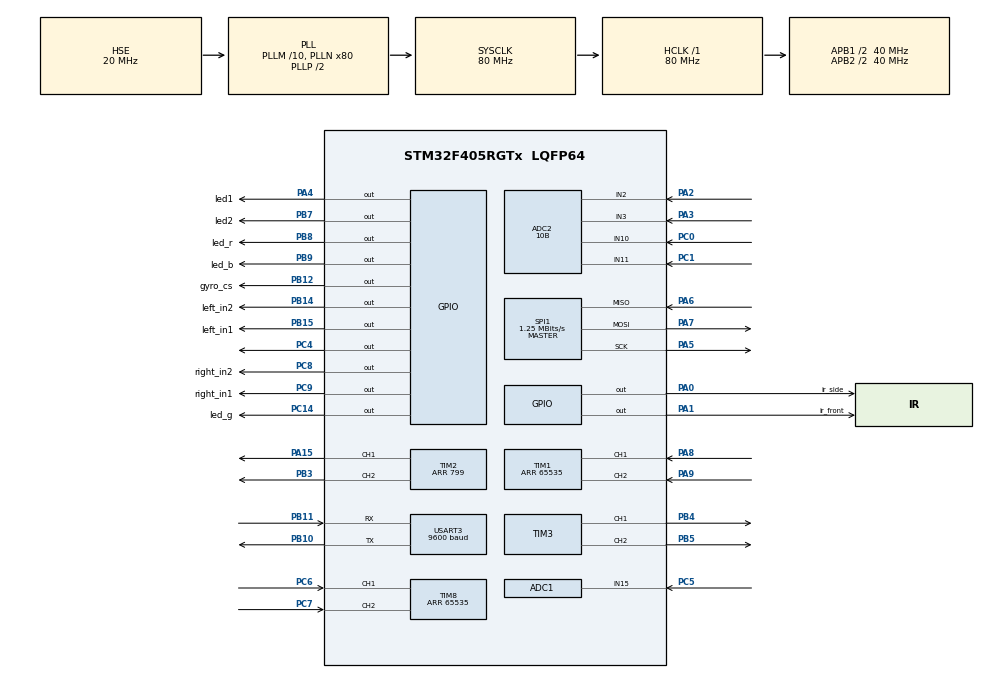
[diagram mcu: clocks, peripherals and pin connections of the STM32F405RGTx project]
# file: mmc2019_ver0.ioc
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ADC1.Channel-5\#ChannelRegularConversion=ADC_CHANNEL_15
ADC1.ContinuousConvMode=DISABLE
ADC1.DMAContinuousRequests=DISABLE
ADC1.DataAlign=ADC_DATAALIGN_RIGHT
ADC1.DiscontinuousConvMode=DISABLE
ADC1.EOCSelection=ADC_EOC_SINGLE_CONV
ADC1.EnableAnalogWatchDog=false
ADC1.ExternalTrigConv=ADC_SOFTWARE_START
ADC1.ExternalTrigConvEdge=ADC_EXTERNALTRIGCONVEDGE_NONE
ADC1.InjNumberOfConversion=0
ADC1.NbrOfConversion=1
ADC1.NbrOfConversionFlag=1
ADC1.Rank-5\#ChannelRegularConversion=1
ADC1.Resolution=ADC_RESOLUTION_12B
ADC1.SamplingTime-5\#ChannelRegularConversion=ADC_SAMPLETIME_3CYCLES
ADC1.ScanConvMode=DISABLE
ADC1.master=1
ADC2.Channel-0\#ChannelRegularConversion=ADC_CHANNEL_2
ADC2.Channel-1\#ChannelRegularConversion=ADC_CHANNEL_3
ADC2.Channel-2\#ChannelRegularConversion=ADC_CHANNEL_10
ADC2.Channel-3\#ChannelRegularConversion=ADC_CHANNEL_11
ADC2.ClockPrescaler=ADC_CLOCK_SYNC_PCLK_DIV2
ADC2.ContinuousConvMode=ENABLE
ADC2.DMAContinuousRequests=ENABLE
ADC2.DataAlign=ADC_DATAALIGN_RIGHT
ADC2.DiscontinuousConvMode=DISABLE
ADC2.EOCSelection=ADC_EOC_SINGLE_CONV
ADC2.EnableAnalogWatchDog=false
ADC2.ExternalTrigConv=ADC_SOFTWARE_START
ADC2.ExternalTrigConvEdge=ADC_EXTERNALTRIGCONVEDGE_NONE
ADC2.InjNumberOfConversion=0
ADC2.NbrOfConversion=4
ADC2.NbrOfConversionFlag=1
ADC2.Rank-0\#ChannelRegularConversion=1
ADC2.Rank-1\#ChannelRegularConversion=2
ADC2.Rank-2\#ChannelRegularConversion=3
ADC2.Rank-3\#ChannelRegularConversion=4
ADC2.Resolution=ADC_RESOLUTION_10B
ADC2.SamplingTime-0\#ChannelRegularConversion=ADC_SAMPLETIME_3CYCLES
ADC2.SamplingTime-1\#ChannelRegularConversion=ADC_SAMPLETIME_3CYCLES
ADC2.SamplingTime-2\#ChannelRegularConversion=ADC_SAMPLETIME_3CYCLES
ADC2.SamplingTime-3\#ChannelRegularConversion=ADC_SAMPLETIME_3CYCLES
ADC2.ScanConvMode=ENABLE
Dma.ADC2.0.Direction=DMA_PERIPH_TO_MEMORY
Dma.ADC2.0.FIFOMode=DMA_FIFOMODE_DISABLE
Dma.ADC2.0.Instance=DMA2_Stream2
Dma.ADC2.0.MemDataAlignment=DMA_MDATAALIGN_HALFWORD
Dma.ADC2.0.MemInc=DMA_MINC_ENABLE
Dma.ADC2.0.Mode=DMA_NORMAL
Dma.ADC2.0.PeriphDataAlignment=DMA_PDATAALIGN_HALFWORD
Dma.ADC2.0.PeriphInc=DMA_PINC_DISABLE
Dma.ADC2.0.Priority=DMA_PRIORITY_LOW
Dma.Request0=ADC2
Mcu.Family=STM32F4
Mcu.Name=STM32F405RGTx
Mcu.Package=LQFP64
NVIC.DMA2_Stream2_IRQn=true\:0\:0\:false\:false\:true\:false
NVIC.PriorityGroup=NVIC_PRIORITYGROUP_4
PA0-WKUP.GPIO_Label=ir_side
PA0-WKUP.Signal=GPIO_Output
PA1.GPIO_Label=ir_front
PA1.Signal=GPIO_Output
PA15.Signal=S_TIM2_CH1_ETR
PA2.Signal=ADCx_IN2
PA3.Signal=ADCx_IN3
PA4.GPIO_Label=led1
PA4.Signal=GPIO_Output
PA5.Mode=Full_Duplex_Master
PA5.Signal=SPI1_SCK
PA6.Mode=Full_Duplex_Master
PA6.Signal=SPI1_MISO
PA7.Mode=Full_Duplex_Master
PA7.Signal=SPI1_MOSI
PA8.Signal=S_TIM1_CH1
PA9.Signal=S_TIM1_CH2
PB10.Mode=Asynchronous
PB10.Signal=USART3_TX
PB11.Mode=Asynchronous
PB11.Signal=USART3_RX
PB12.GPIO_Label=gyro_cs
PB12.Signal=GPIO_Output
PB14.GPIO_Label=left_in2
PB14.Signal=GPIO_Output
PB15.GPIO_Label=left_in1
PB15.Signal=GPIO_Output
PB3.Signal=S_TIM2_CH2
PB4.Signal=S_TIM3_CH1
PB5.Signal=S_TIM3_CH2
PB7.GPIO_Label=led2
PB7.Signal=GPIO_Output
PB8.GPIO_Label=led_r
PB8.Signal=GPIO_Output
PB9.GPIO_Label=led_b
PB9.Signal=GPIO_Output
PC0.Signal=ADCx_IN10
PC1.Signal=ADCx_IN11
PC14-OSC32_IN.GPIO_Label=led_g
PC14-OSC32_IN.Signal=GPIO_Output
PC4.Signal=GPIO_Output
PC5.Signal=ADCx_IN15
PC6.Signal=S_TIM8_CH1
PC7.Signal=S_TIM8_CH2
PC8.GPIO_Label=right_in2
PC8.Signal=GPIO_Output
PC9.GPIO_Label=right_in1
PC9.Signal=GPIO_Output
PH0-OSC_IN.Mode=HSE-External-Oscillator
PH0-OSC_IN.Signal=RCC_OSC_IN
PH1-OSC_OUT.Mode=HSE-External-Oscillator
PH1-OSC_OUT.Signal=RCC_OSC_OUT
ProjectManager.HeapSize=0x200
ProjectManager.StackSize=0x400
ProjectManager.TargetToolchain=Makefile
RCC.48MHZClocksFreq_Value=40000000
RCC.AHBFreq_Value=80000000
RCC.APB1CLKDivider=RCC_HCLK_DIV2
RCC.APB1Freq_Value=40000000
RCC.APB1TimFreq_Value=80000000
RCC.APB2CLKDivider=RCC_HCLK_DIV2
RCC.APB2Freq_Value=40000000
RCC.APB2TimFreq_Value=80000000
RCC.CortexFreq_Value=80000000
RCC.HCLKFreq_Value=80000000
RCC.HSE_VALUE=20000000
RCC.HSI_VALUE=16000000
RCC.LSE_VALUE=32768
RCC.PLLM=10
RCC.PLLN=80
RCC.PLLSourceVirtual=RCC_PLLSOURCE_HSE
RCC.SYSCLKFreq_VALUE=80000000
RCC.SYSCLKSource=RCC_SYSCLKSOURCE_PLLCLK
RCC.VCOOutputFreq_Value=160000000
SH.ADCx_IN10.0=ADC2_IN10,IN10
SH.ADCx_IN11.0=ADC2_IN11,IN11
SH.ADCx_IN15.0=ADC1_IN15,IN15
SH.ADCx_IN2.0=ADC2_IN2,IN2
SH.ADCx_IN3.0=ADC2_IN3,IN3
SH.S_TIM1_CH1.0=TIM1_CH1,Encoder_Interface
SH.S_TIM1_CH2.0=TIM1_CH2,Encoder_Interface
SH.S_TIM2_CH1_ETR.0=TIM2_CH1,PWM Generation1 CH1
SH.S_TIM2_CH2.0=TIM2_CH2,PWM Generation2 CH2
SH.S_TIM3_CH1.0=TIM3_CH1,PWM Generation1 CH1
SH.S_TIM3_CH2.0=TIM3_CH2,PWM Generation2 CH2
SH.S_TIM8_CH1.0=TIM8_CH1,Encoder_Interface
SH.S_TIM8_CH2.0=TIM8_CH2,Encoder_Interface
SPI1.BaudRatePrescaler=SPI_BAUDRATEPRESCALER_32
SPI1.CLKPolarity=SPI_POLARITY_LOW
SPI1.CalculateBaudRate=1.25 MBits/s
SPI1.Direction=SPI_DIRECTION_2LINES
SPI1.Mode=SPI_MODE_MASTER
SPI1.VirtualType=VM_MASTER
TIM1.Period=65535
TIM2.Channel-PWM\ Generation1\ CH1=TIM_CHANNEL_1
TIM2.Channel-PWM\ Generation2\ CH2=TIM_CHANNEL_2
TIM2.Period=799
TIM3.Channel-PWM\ Generation1\ CH1=TIM_CHANNEL_1
TIM3.Channel-PWM\ Generation2\ CH2=TIM_CHANNEL_2
TIM8.Period=65535
USART3.BaudRate=9600
USART3.VirtualMode=VM_ASYNC
board=mmc2019_ver0

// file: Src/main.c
/**
  ******************************************************************************
  * @file           : main.c
  * @brief          : Main program body
  ******************************************************************************
  ** This notice applies to any and all portions of this file
  * that are not between comment pairs USER CODE BEGIN and
  * USER CODE END. Other portions of this file, whether
  * inserted by the user or by software development tools
  * are owned by their respective copyright owners.
  *
  * COPYRIGHT(c) 2019 STMicroelectronics
  *
  * Redistribution and use in source and binary forms, with or without modification,
  * are permitted provided that the following conditions are met:
  *   1. Redistributions of source code must retain the above copyright notice,
  *      this list of conditions and the following disclaimer.
  *   2. Redistributions in binary form must reproduce the above copyright notice,
  *      this list of conditions and the following disclaimer in the documentation
  *      and/or other materials provided with the distribution.
  *   3. Neither the name of STMicroelectronics nor the names of its contributors
  *      may be used to endorse or promote products derived from this software
  *      without specific prior written permission.
  *
  * THIS SOFTWARE IS PROVIDED BY THE COPYRIGHT HOLDERS AND CONTRIBUTORS "AS IS"
  * AND ANY EXPRESS OR IMPLIED WARRANTIES, INCLUDING, BUT NOT LIMITED TO, THE
  * IMPLIED WARRANTIES OF MERCHANTABILITY AND FITNESS FOR A PARTICULAR PURPOSE ARE
  * DISCLAIMED. IN NO EVENT SHALL THE COPYRIGHT HOLDER OR CONTRIBUTORS BE LIABLE
  * FOR ANY DIRECT, INDIRECT, INCIDENTAL, SPECIAL, EXEMPLARY, OR CONSEQUENTIAL
  * DAMAGES (INCLUDING, BUT NOT LIMITED TO, PROCUREMENT OF SUBSTITUTE GOODS OR
  * SERVICES; LOSS OF USE, DATA, OR PROFITS; OR BUSINESS INTERRUPTION) HOWEVER
  * CAUSED AND ON ANY THEORY OF LIABILITY, WHETHER IN CONTRACT, STRICT LIABILITY,
  * OR TORT (INCLUDING NEGLIGENCE OR OTHERWISE) ARISING IN ANY WAY OUT OF THE USE
  * OF THIS SOFTWARE, EVEN IF ADVISED OF THE POSSIBILITY OF SUCH DAMAGE.
  *
  ******************************************************************************
  */
#include "main.h"
#include "stm32f4xx_hal.h"
#include "adc.h"
#include "dma.h"
#include "spi.h"
#include "tim.h"
#include "usart.h"
#include "gpio.h"

/* USER CODE BEGIN Includes */
#include "mode.h"
/* USER CODE END Includes */

/* USER CODE BEGIN PV */
#ifdef __GNUC__
#define PUTCHAR_PROTOTYPE int __io_putchar(int ch)
#else
#define PUTCHAR_PROTOTYPE int fputc(int ch, FILE *f)
#endif /* __GNUC__ */
void __io_putchar(uint8_t ch)
{
  HAL_UART_Transmit(&huart3, &ch, 1, 1);
}
/* Private variables ---------------------------------------------------------*/

/* USER CODE END PV */

void SystemClock_Config(void);

/* USER CODE BEGIN PFP */
/* Private function prototypes -----------------------------------------------*/
void Init_Main(void);
/* USER CODE END PFP */

int main(void)
{

  /* MCU Configuration----------------------------------------------------------*/

  /* Reset of all peripherals, Initializes the Flash interface and the Systick. */
  HAL_Init();

  /* Configure the system clock */
  SystemClock_Config();

  /* Initialize all configured peripherals */
  MX_GPIO_Init();
  MX_DMA_Init();
  MX_ADC1_Init();
  MX_ADC2_Init();
  MX_SPI1_Init();
  MX_TIM1_Init();
  MX_TIM2_Init();
  MX_TIM3_Init();
  MX_TIM8_Init();
  MX_USART3_UART_Init();
  /* USER CODE BEGIN 2 */
  Init_Main();
  /* USER CODE END 2 */

  /* Infinite loop */
  /* USER CODE BEGIN WHILE */
  while (1)
  {
    //Tim_FanPwm(160);
    Mode_Mouse(Mode_Select());
  /* USER CODE END WHILE */

  }

}

void SystemClock_Config(void)
{

  RCC_OscInitTypeDef RCC_OscInitStruct;
  RCC_ClkInitTypeDef RCC_ClkInitStruct;

    /**Configure the main internal regulator output voltage
    */
  __HAL_RCC_PWR_CLK_ENABLE();

  __HAL_PWR_VOLTAGESCALING_CONFIG(PWR_REGULATOR_VOLTAGE_SCALE1);

    /**Initializes the CPU, AHB and APB busses clocks
    */
  RCC_OscInitStruct.OscillatorType = RCC_OSCILLATORTYPE_HSE;
  RCC_OscInitStruct.HSEState = RCC_HSE_ON;
  RCC_OscInitStruct.PLL.PLLState = RCC_PLL_ON;
  RCC_OscInitStruct.PLL.PLLSource = RCC_PLLSOURCE_HSE;
  RCC_OscInitStruct.PLL.PLLM = 10;
  RCC_OscInitStruct.PLL.PLLN = 80;
  RCC_OscInitStruct.PLL.PLLP = RCC_PLLP_DIV2;
  RCC_OscInitStruct.PLL.PLLQ = 4;
  if (HAL_RCC_OscConfig(&RCC_OscInitStruct) != HAL_OK)
  {
    _Error_Handler(__FILE__, __LINE__);
  }

    /**Initializes the CPU, AHB and APB busses clocks
    */
  RCC_ClkInitStruct.ClockType = RCC_CLOCKTYPE_HCLK|RCC_CLOCKTYPE_SYSCLK
                              |RCC_CLOCKTYPE_PCLK1|RCC_CLOCKTYPE_PCLK2;
  RCC_ClkInitStruct.SYSCLKSource = RCC_SYSCLKSOURCE_PLLCLK;
  RCC_ClkInitStruct.AHBCLKDivider = RCC_SYSCLK_DIV1;
  RCC_ClkInitStruct.APB1CLKDivider = RCC_HCLK_DIV2;
  RCC_ClkInitStruct.APB2CLKDivider = RCC_HCLK_DIV2;

  if (HAL_RCC_ClockConfig(&RCC_ClkInitStruct, FLASH_LATENCY_2) != HAL_OK)
  {
    _Error_Handler(__FILE__, __LINE__);
  }

    /**Configure the Systick interrupt time
    */
  HAL_SYSTICK_Config(HAL_RCC_GetHCLKFreq()/1000);

    /**Configure the Systick
    */
  HAL_SYSTICK_CLKSourceConfig(SYSTICK_CLKSOURCE_HCLK);

  /* SysTick_IRQn interrupt configuration */
  HAL_NVIC_SetPriority(SysTick_IRQn, 0, 0);
}

/* USER CODE BEGIN 4 */
void Init_Main(void){
  setbuf(stdout, NULL);//printf
  HAL_TIM_Encoder_Start(&htim1, TIM_CHANNEL_ALL);
  HAL_TIM_Encoder_Start(&htim8, TIM_CHANNEL_ALL);
  Adc_SetSensorValue();
  Spi_SetGyro();
  Tim_BuzzerPwm(HZ_A,300);
  HAL_Delay(200);
  Tim_BuzzerPwm(HZ_NORMAL,0);
  printf("batt:%f\n\r",Adc_GetBatt());
  HAL_Delay(1000);
}
/* USER CODE END 4 */

void _Error_Handler(char *file, int line)
{
  while(1)
  {
  }
}

/************************ (C) COPYRIGHT STMicroelectronics *****END OF FILE****/
